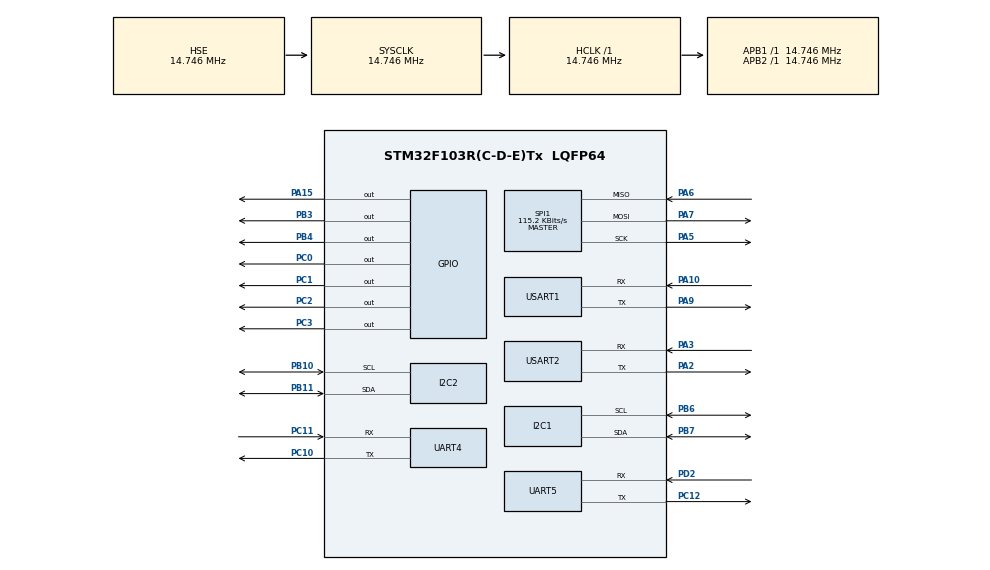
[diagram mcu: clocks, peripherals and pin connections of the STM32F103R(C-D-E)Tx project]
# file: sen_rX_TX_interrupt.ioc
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I2C2.I2C_Mode=I2C_Standard
Mcu.Family=STM32F1
Mcu.Name=STM32F103R(C-D-E)Tx
Mcu.Package=LQFP64
NVIC.I2C2_EV_IRQn=true\:4\:0\:true
NVIC.PriorityGroup=NVIC_PRIORITYGROUP_4
NVIC.SPI1_IRQn=true\:6\:0\:true
NVIC.TIM2_IRQn=true\:0\:0\:false
NVIC.UART4_IRQn=true\:1\:0\:true
NVIC.UART5_IRQn=true\:2\:0\:true
NVIC.USART1_IRQn=true\:0\:0\:false
PA10.GPIO_PuPd=GPIO_PULLUP
PA10.Mode=Asynchronous
PA10.Signal=USART1_RX
PA15.Signal=GPIO_Output
PA2.Mode=Asynchronous
PA2.Signal=USART2_TX
PA3.GPIO_PuPd=GPIO_PULLUP
PA3.Mode=Asynchronous
PA3.Signal=USART2_RX
PA5.Mode=Full_Duplex_Master
PA5.Signal=SPI1_SCK
PA6.Mode=Full_Duplex_Master
PA6.Signal=SPI1_MISO
PA7.Mode=Full_Duplex_Master
PA7.Signal=SPI1_MOSI
PA9.Mode=Asynchronous
PA9.Signal=USART1_TX
PB10.Mode=I2C
PB10.Signal=I2C2_SCL
PB11.Mode=I2C
PB11.Signal=I2C2_SDA
PB3.GPIO_Speed=GPIO_SPEED_HIGH
PB3.Signal=GPIO_Output
PB4.Signal=GPIO_Output
PB6.Mode=I2C
PB6.Signal=I2C1_SCL
PB7.Mode=I2C
PB7.Signal=I2C1_SDA
PC0.Signal=GPIO_Output
PC1.Signal=GPIO_Output
PC10.Mode=Asynchronous
PC10.Signal=UART4_TX
PC11.GPIO_PuPd=GPIO_PULLUP
PC11.Mode=Asynchronous
PC11.Signal=UART4_RX
PC12.Mode=Asynchronous
PC12.Signal=UART5_TX
PC2.Signal=GPIO_Output
PC3.Signal=GPIO_Output
PD0-OSC_IN.Mode=HSE-External-Oscillator
PD0-OSC_IN.Signal=RCC_OSC_IN
PD1-OSC_OUT.Mode=HSE-External-Oscillator
PD1-OSC_OUT.Signal=RCC_OSC_OUT
PD2.GPIO_PuPd=GPIO_PULLUP
PD2.Mode=Asynchronous
PD2.Signal=UART5_RX
ProjectManager.TargetToolchain=EWARM
RCC.AHBFreq_Value=14745600
RCC.APB1Freq_Value=14745600
RCC.APB1TimFreq_Value=14745600
RCC.APB2Freq_Value=14745600
RCC.APB2TimFreq_Value=14745600
RCC.HCLKFreq_Value=14745600
RCC.HSE_VALUE=14745600
RCC.SYSCLKFreq_VALUE=14745600
RCC.SYSCLKSource=RCC_SYSCLKSOURCE_HSE
SPI1.BaudRatePrescaler=SPI_BAUDRATEPRESCALER_128
SPI1.CalculateBaudRate=115.2 KBits/s
SPI1.Mode=SPI_MODE_MASTER
TIM2.Period=1843
TIM2.Prescaler=799
VP_TIM2_VS_ClockSourceINT.Mode=Internal
board=sen_rX_TX_interrupt

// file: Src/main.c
/**
  ******************************************************************************
  * File Name          : main.c
  * Description        : Main program body
  ******************************************************************************
  *
  * COPYRIGHT(c) 2021 STMicroelectronics
  *
  * Redistribution and use in source and binary forms, with or without modification,
  * are permitted provided that the following conditions are met:
  *   1. Redistributions of source code must retain the above copyright notice,
  *      this list of conditions and the following disclaimer.
  *   2. Redistributions in binary form must reproduce the above copyright notice,
  *      this list of conditions and the following disclaimer in the documentation
  *      and/or other materials provided with the distribution.
  *   3. Neither the name of STMicroelectronics nor the names of its contributors
  *      may be used to endorse or promote products derived from this software
  *      without specific prior written permission.
  *
  * THIS SOFTWARE IS PROVIDED BY THE COPYRIGHT HOLDERS AND CONTRIBUTORS "AS IS"
  * AND ANY EXPRESS OR IMPLIED WARRANTIES, INCLUDING, BUT NOT LIMITED TO, THE
  * IMPLIED WARRANTIES OF MERCHANTABILITY AND FITNESS FOR A PARTICULAR PURPOSE ARE
  * DISCLAIMED. IN NO EVENT SHALL THE COPYRIGHT HOLDER OR CONTRIBUTORS BE LIABLE
  * FOR ANY DIRECT, INDIRECT, INCIDENTAL, SPECIAL, EXEMPLARY, OR CONSEQUENTIAL
  * DAMAGES (INCLUDING, BUT NOT LIMITED TO, PROCUREMENT OF SUBSTITUTE GOODS OR
  * SERVICES; LOSS OF USE, DATA, OR PROFITS; OR BUSINESS INTERRUPTION) HOWEVER
  * CAUSED AND ON ANY THEORY OF LIABILITY, WHETHER IN CONTRACT, STRICT LIABILITY,
  * OR TORT (INCLUDING NEGLIGENCE OR OTHERWISE) ARISING IN ANY WAY OUT OF THE USE
  * OF THIS SOFTWARE, EVEN IF ADVISED OF THE POSSIBILITY OF SUCH DAMAGE.
  *
  ******************************************************************************
  */
#include "stm32f1xx_hal.h"

/* USER CODE BEGIN Includes */
#include <bno055.h>
#include <bno055_stm32.h>
#include <stdio.h>
#include "mlx90614.h"
#include <string.h>
//#include "confiq.h"
//#include "gps.h"

#define ACTIVE          1
#define INACTIVE        0

#define L80_EN_PORT     GPIOC
#define MLX_EN_PORT     GPIOC
#define BNO_EN_PORT     GPIOC
#define ESP_EN_PORT     GPIOC
#define SS_PORT         GPIOB

#define L80_EN_PIN      (1<<3)
#define MLX_EN_PIN      (1<<0)
#define BNO_EN_PIN      (1<<1)
#define ESP_EN_PIN      (1<<2)
#define SS_PIN          (1<<3)

#define SEN0_RTS_EN_PORT        GPIOA
#define SEN1_RTS_EN_PORT        GPIOB

#define SEN0_RTS_EN_PIN (1<<15)
#define SEN1_RTS_EN_PIN (1<<4)

#define UART4_INX   0
#define UART5_INX   1
#define MLX_INX     2
#define UART1_INX   3

#define TEMP_OBJ        0
#define TEMP_AMB        1

#define SEN_DATAPACK_SIZE       33

#define TIMER2_PERIOD   85
/*
  14745600Hz / 800 Prescaller = 18432
  18432 / 85 = 216Hz
  1 / 216 = 4.6 ms

 mind to place this value in timer function in case of regenerating the project
*/

#define R_VALUE 2

#define RMS_MODE_COMMAND_PACK    "$PMTK314,0,1,0,0,0,0,0,0,0,0,0,0,0,0,0,0,0,0,0*29\r\n\0"
#define RMS_GPS_OUTPUT  "$GPRMC,073810.000,A,3546.0748,N,05119.6196,E,0.00,196.72,061021,,,D*62\0"

/* USER CODE END Includes */

I2C_HandleTypeDef hi2c1;
I2C_HandleTypeDef hi2c2;

SPI_HandleTypeDef hspi1;

TIM_HandleTypeDef htim2;

UART_HandleTypeDef huart4;
UART_HandleTypeDef huart5;
UART_HandleTypeDef huart1;
UART_HandleTypeDef huart2;

char gps_validation_test = 0;

/* USER CODE BEGIN PV */
/* Private variables ---------------------------------------------------------*/

char    data_sen[2][SEN_DATAPACK_SIZE], data_sen2[2][SEN_DATAPACK_SIZE];
char    sen_request[2] = {97, 0};                    //116 is ASCII code of 't'
char    error[7] = {'E', 'R', 'R', 'O', 'R', '\n', 0};
char    pack_ready[2];

int     sen_value[3];

volatile long int       sen_port_c [2] ;
volatile long int       sen_port_r_check_c [2];
volatile long int       bno_c = 0;
volatile long int       mlx_c = 0;
volatile long int       gps_wire_connection_c = 0;

unsigned char   sen_send [2];
unsigned char   ch=0;
unsigned char   get_data [3];
unsigned char   sen_data_get_request[2];
float    data_mlx[2];

const int GPS_GETDATA_SIZE = 200;

char    sprint_buffer[20];
char    str[100];
char    str_buffer [800];
char    sen_data_buffer[420];
char    utc_str[30], latitude_str [30], longitude_str[30];
char    gps_validation, gps_ns, gps_ew;
int     index=0;

float   latitude = 0.0, longitude = 0.0;
float   latitude_final = 0.0, longitude_final = 0.0;
unsigned char gps_hour = 0, gps_min = 0, gps_sec = 0;
volatile unsigned char gps_wire_connection = 1;

volatile unsigned char gps_data_ready = 0;

char    utc_str_test[30] = "073810.123\r\n\0";
char    latitude_str_test[30] = "3546.0748\r\n\0";
char    longitude_str_test[30] = "05119.6196\r\n\0";
//char    gps_validation_test = 'A';
char    gps_ns = 'N';
char    gps_ew = 'E';

unsigned char battery_percent = 0;

char first_udp[30] = "aa";
char second_udp[10] = "ccc";
char first_serial[10] = "bbbb";
char second_serial[10] = "OK";
unsigned char volatile start_state = 0;
char buffer[20];

unsigned char   uart4_rx_state = 0;
unsigned char   uart4_rx_complete = 0;
unsigned char   uart5_rx_state = 0;
unsigned char   uart5_rx_complete = 0;

int     index_uart4 = 0;
int     index_uart5 = 0;

unsigned char bno_state = 1;

char test_char_gps = 0;

/* USER CODE END PV */

void SystemClock_Config(void);
static void MX_GPIO_Init(void);
static void MX_I2C1_Init(void);
static void MX_I2C2_Init(void);
static void MX_SPI1_Init(void);
static void MX_TIM2_Init(void);
static void MX_UART4_Init(void);
static void MX_UART5_Init(void);
static void MX_USART1_UART_Init(void);
static void MX_USART2_UART_Init(void);

/* USER CODE BEGIN PFP */
/* Private function prototypes -----------------------------------------------*/

/* USER CODE END PFP */

/* USER CODE BEGIN 0 */
void put_str(char *Str, UART_HandleTypeDef *Huart);
void datapack_maker ( char *Des, char *Source, char Max_index, char End);
void two_way_esp_polling (void);

void gps_data_check_extrac_func (char *Str, char *Utc_time, char* Validation,
                                    char *Latitude, char *Ns, char *Longitude,
                                    char *Ew);
void gps_conv_double (char *In, float *Out);
void gps_cor_final_conv_func(float In, float *Out);
void gps_utc_conv_func (char *Utc_time, unsigned char *Hour, unsigned char *Min,
                        unsigned char *Sec);

/* USER CODE END 0 */

int main(void)
{

  /* MCU Configuration----------------------------------------------------------*/

  /* Reset of all peripherals, Initializes the Flash interface and the Systick. */
  HAL_Init();

  /* Configure the system clock */
  SystemClock_Config();

  /* Initialize all configured peripherals */
  MX_GPIO_Init();
  MX_I2C1_Init();
  MX_I2C2_Init();
  MX_SPI1_Init();
  MX_TIM2_Init();
  MX_UART4_Init();
  MX_UART5_Init();
  MX_USART1_UART_Init();
  MX_USART2_UART_Init();

  /* USER CODE BEGIN 2 */
  RCC->APB2ENR |= RCC_APB2ENR_AFIOEN;           // Enable A.F. clock
  AFIO->MAPR |= AFIO_MAPR_SWJ_CFG_JTAGDISABLE; // JTAG is disabled, SWD is enabled

  HAL_GPIO_WritePin(L80_EN_PORT, L80_EN_PIN, GPIO_PIN_RESET);
  HAL_GPIO_WritePin(MLX_EN_PORT, MLX_EN_PIN, GPIO_PIN_RESET);
  HAL_GPIO_WritePin(GPIOC, BNO_EN_PIN, GPIO_PIN_RESET);

  HAL_Delay(1000);

  HAL_GPIO_WritePin(L80_EN_PORT, L80_EN_PIN, GPIO_PIN_SET);
  HAL_GPIO_WritePin(MLX_EN_PORT, MLX_EN_PIN, GPIO_PIN_SET);
  HAL_GPIO_WritePin(BNO_EN_PORT, BNO_EN_PIN, GPIO_PIN_SET);
  HAL_GPIO_WritePin(ESP_EN_PORT, ESP_EN_PIN, GPIO_PIN_SET);
  HAL_GPIO_WritePin(SS_PORT, SS_PIN, GPIO_PIN_SET);
  HAL_GPIO_WritePin(SEN0_RTS_EN_PORT, SEN0_RTS_EN_PIN, GPIO_PIN_RESET);
  HAL_GPIO_WritePin(SEN1_RTS_EN_PORT, SEN1_RTS_EN_PIN, GPIO_PIN_RESET);

  //HAL_Delay(2000);
  //MLX90614_WriteReg(MLX90614_DEFAULT_SA, MLX90614_CFG1, 0xB7C0);
  HAL_Delay(2000);

  two_way_esp_polling();

  HAL_Delay(2000);

  bno055_setup();
  bno055_setOperationModeNDOF();
  bno055_getCalibrationData();

  sen_data_buffer[300] = 0;
  sen_data_buffer[301] = '\n';
  /* USER CODE END 2 */

  /* Infinite loop */
  /* USER CODE BEGIN WHILE */
  HAL_TIM_Base_Start_IT(&htim2);

  for (int i = 0; i<60; i++)
  {
    HAL_Delay(1000);
    sprintf(str,"%d secs\n",i);
    put_str(str, &huart2);
  }

  HAL_Delay(1000);
  put_str(RMS_MODE_COMMAND_PACK, &huart1);
  HAL_Delay(1000);
  __HAL_UART_ENABLE_IT(&huart1, UART_IT_RXNE);
  __HAL_UART_ENABLE_IT(&huart4, UART_IT_RXNE);
  __HAL_UART_ENABLE_IT(&huart5, UART_IT_RXNE);

  HAL_Delay(2000);
  sen_port_c [UART5_INX] = 0;
  sen_port_r_check_c [UART5_INX] = 0;
  bno_c = 0;
  mlx_c = 200;
  gps_wire_connection_c = 0;

   while (1)
    {
    if (sen_port_c[UART4_INX] > 9)
    {
      get_data [UART4_INX] = ACTIVE;
      sen_port_c [UART4_INX]= 0;
    }

    if (sen_port_c[UART5_INX] > 9)
    {
      get_data [UART5_INX] = ACTIVE;
      sen_port_c [UART5_INX]= 0;
    }

    if (mlx_c > 199)
    {
      get_data [MLX_INX] = ACTIVE;
      mlx_c = 0;
    }

/*
    if (bno_c > 9)
    {
      bno055_vector_t v = bno055_getVectorEuler();
      sprintf(str, "%0.2f;%0.2f;%0.2f\n", v.x, v.y, v.z);
      put_str(str, &huart2);
      bno_c = 0;
    }
*/
    if(get_data [UART4_INX] == ACTIVE)
    {
      HAL_GPIO_WritePin(GPIOA, GPIO_PIN_15, GPIO_PIN_SET);
      HAL_Delay(2);
      HAL_UART_Transmit(&huart4, (unsigned char *)sen_request, 1,10);

      HAL_Delay(2);
      HAL_GPIO_WritePin(GPIOA, GPIO_PIN_15, GPIO_PIN_RESET);

      uart4_rx_state = 1;
      index_uart4 = 0;

      sen_data_get_request [UART4_INX] = ACTIVE;
      get_data [UART4_INX] = INACTIVE;
    }

    if(get_data [UART5_INX] == ACTIVE)
    {
      HAL_GPIO_WritePin(GPIOB, GPIO_PIN_4, GPIO_PIN_SET);
      HAL_Delay(2);
      HAL_UART_Transmit(&huart5, (unsigned char *)sen_request, 1,10);

      HAL_Delay(2);
      HAL_GPIO_WritePin(GPIOB, GPIO_PIN_4, GPIO_PIN_RESET);

      uart5_rx_state = 1;
      index_uart5 = 0;

      sen_data_get_request [UART5_INX]= ACTIVE;
      get_data [UART5_INX] = INACTIVE;
    }

    if (get_data [MLX_INX] == ACTIVE)
    {
      data_mlx[TEMP_OBJ] = MLX90614_ReadTemp(MLX90614_DEFAULT_SA, MLX90614_TOBJ1);
      HAL_Delay(10);
      data_mlx[TEMP_AMB] = MLX90614_ReadTemp(MLX90614_DEFAULT_SA, MLX90614_TAMB);
      HAL_Delay(10);
      get_data [MLX_INX] = INACTIVE;
    }

    if(sen_data_get_request [UART4_INX] == ACTIVE)
    {

      if(uart4_rx_complete == 1)
      {
        sen_send [UART4_INX]= ACTIVE;
        sen_port_r_check_c [UART4_INX]= 0;
        uart4_rx_complete = 0;
      }

      /*
      if(sen_port_r_check_c [UART4_INX] > 9)
      {
        put_str(error, &huart2);
        get_data [UART4_INX]= ACTIVE;
        sen_port_r_check_c [UART4_INX]= 0;
      }
      */
    }

    if(sen_data_get_request [UART5_INX]== ACTIVE)
    {
      if(uart5_rx_complete == 1)
      {
        sen_send [UART5_INX]= ACTIVE;
        sen_port_r_check_c [UART5_INX]= 0;
        uart5_rx_complete = 0;
      }

      /*
      if(sen_port_r_check_c [UART5_INX] > 9)
      {
        put_str(error, &huart2);
        get_data [UART5_INX]= ACTIVE;
        sen_port_r_check_c [UART5_INX]= 0;
      }
      */
    }

    if (sen_send [UART4_INX] == ACTIVE)
    {

      datapack_maker((char*)data_sen2, (char*)data_sen, (SEN_DATAPACK_SIZE - 1),0);
      sscanf ((char const*)data_sen2, "%d",&sen_value[0]);

      sen_send [UART4_INX] = INACTIVE;
      sen_data_get_request [UART4_INX]= INACTIVE;
      pack_ready[UART4_INX] = ACTIVE;
    }

    if (sen_send [UART5_INX]== ACTIVE)
    {

      datapack_maker((char*)data_sen2 + SEN_DATAPACK_SIZE, (char*)data_sen + SEN_DATAPACK_SIZE, (SEN_DATAPACK_SIZE - 1),0);
      sscanf ((char const*)data_sen2 + SEN_DATAPACK_SIZE, "%d",&sen_value[1]);

      sen_send [UART5_INX] = INACTIVE;
      sen_data_get_request [UART5_INX]= INACTIVE;
      pack_ready[UART5_INX] = ACTIVE;
    }

    if (gps_data_ready == 1)
    {

      for (int i = 0; i < GPS_GETDATA_SIZE; i++)        sen_data_buffer[i] = str_buffer[i];
      sen_data_buffer[GPS_GETDATA_SIZE] = 0;
      gps_data_check_extrac_func(sen_data_buffer, utc_str, &gps_validation, latitude_str,
                               &gps_ns, longitude_str, &gps_ew);
      gps_conv_double(latitude_str, &latitude);
      gps_conv_double(longitude_str, &longitude);

      gps_utc_conv_func(utc_str, &gps_hour, &gps_min, &gps_sec);
      gps_cor_final_conv_func(latitude, &latitude_final);
      gps_cor_final_conv_func(longitude, &longitude_final);

      gps_data_ready = 0;
      gps_wire_connection = ACTIVE;
      gps_wire_connection_c = 0;
    }

    if ((pack_ready[UART4_INX] && pack_ready[UART5_INX] ) == ACTIVE)
    //if ((pack_ready[UART4_INX]) == ACTIVE)
    {
      pack_ready[UART4_INX] = INACTIVE;
      pack_ready[UART5_INX] = INACTIVE;
      HAL_GPIO_WritePin(SS_PORT, SS_PIN, GPIO_PIN_RESET);

      put_str((char *)data_sen2, &huart2);
      put_str((char *)((char *)data_sen2 +  SEN_DATAPACK_SIZE), &huart2);

      sen_value[R_VALUE] = (sen_value[0] + sen_value[1]);
      sprintf(str, "%d\t", sen_value[R_VALUE]);
      put_str(str, &huart2);

      if(bno_state == 1)
      {
        bno055_vector_t v = bno055_getVectorEuler();
        sprintf(str, "%0.2f\t%0.2f\t%0.2f\t", v.z, v.y, v.x); //the x and the z were reverse in tests
        put_str(str, &huart2);
      }
      else if (bno_state == 2)
      {
        sprintf(str, "BNO Problem\t");
        put_str(str, &huart2);
      }
      else
      {
        sprintf(str, "BNO unavailable\t");
        put_str(str, &huart2);
      }

      sprintf(str, "%0.2f\t%0.2f\t", data_mlx[TEMP_OBJ], data_mlx[TEMP_AMB]);
      put_str(str, &huart2);

      switch (gps_wire_connection)
      {
      case ACTIVE:
        if(gps_wire_connection_c > 800)  gps_wire_connection = INACTIVE;

          switch (gps_validation)
          {
            case 'V':
              put_str("GPS Data was invalid\t", &huart2);
            break;

            case 'A':
              sprintf(str, "%2d:%2d:%2d\t", gps_hour, gps_min, gps_sec);
              put_str(str, &huart2);

              sprintf(str, "%2.7f\t%c\t", latitude_final, gps_ns);
              put_str(str, &huart2);

              sprintf(str, "%2.7f\t%c\t", longitude_final, gps_ew);
              put_str(str, &huart2);
            break;
            default:
              //sprintf(str,"GPS checking\t",gps_validation);
              //put_str(str, &huart2);
              put_str("GPS Data was invalid\t", &huart2);

            break;

          }
      break;

      case INACTIVE:
        put_str("GPS_ERROR\t", &huart2);
      break;
      }

      battery_percent = 0;
      HAL_SPI_Receive(&hspi1,&battery_percent,1,10);
      sprintf(str, "%d%%\n", battery_percent);
      put_str(str, &huart2);
      HAL_GPIO_WritePin(SS_PORT, SS_PIN, GPIO_PIN_SET);
    }

  /* USER CODE END WHILE */

  }

}

/** System Clock Configuration
*/
void SystemClock_Config(void)
{

  RCC_OscInitTypeDef RCC_OscInitStruct;
  RCC_ClkInitTypeDef RCC_ClkInitStruct;

  RCC_OscInitStruct.OscillatorType = RCC_OSCILLATORTYPE_HSE;
  RCC_OscInitStruct.HSEState = RCC_HSE_ON;
  RCC_OscInitStruct.PLL.PLLState = RCC_PLL_NONE;
  HAL_RCC_OscConfig(&RCC_OscInitStruct);

  RCC_ClkInitStruct.ClockType = RCC_CLOCKTYPE_SYSCLK;
  RCC_ClkInitStruct.SYSCLKSource = RCC_SYSCLKSOURCE_HSE;
  RCC_ClkInitStruct.AHBCLKDivider = RCC_SYSCLK_DIV1;
  RCC_ClkInitStruct.APB1CLKDivider = RCC_HCLK_DIV1;
  RCC_ClkInitStruct.APB2CLKDivider = RCC_HCLK_DIV1;
  HAL_RCC_ClockConfig(&RCC_ClkInitStruct, FLASH_LATENCY_0);

  HAL_SYSTICK_Config(HAL_RCC_GetHCLKFreq()/1000);

  HAL_SYSTICK_CLKSourceConfig(SYSTICK_CLKSOURCE_HCLK);

  /* SysTick_IRQn interrupt configuration */
  HAL_NVIC_SetPriority(SysTick_IRQn, 0, 0);
}

/* I2C1 init function */
void MX_I2C1_Init(void)
{

  hi2c1.Instance = I2C1;
  hi2c1.Init.ClockSpeed = 100000;
  hi2c1.Init.DutyCycle = I2C_DUTYCYCLE_2;
  hi2c1.Init.OwnAddress1 = 0;
  hi2c1.Init.AddressingMode = I2C_ADDRESSINGMODE_7BIT;
  hi2c1.Init.DualAddressMode = I2C_DUALADDRESS_DISABLED;
  hi2c1.Init.OwnAddress2 = 0;
  hi2c1.Init.GeneralCallMode = I2C_GENERALCALL_DISABLED;
  hi2c1.Init.NoStretchMode = I2C_NOSTRETCH_DISABLED;
  HAL_I2C_Init(&hi2c1);

}

/* I2C2 init function */
void MX_I2C2_Init(void)
{

  hi2c2.Instance = I2C2;
  hi2c2.Init.ClockSpeed = 400000;
  hi2c2.Init.DutyCycle = I2C_DUTYCYCLE_2;
  hi2c2.Init.OwnAddress1 = 0;
  hi2c2.Init.AddressingMode = I2C_ADDRESSINGMODE_7BIT;
  hi2c2.Init.DualAddressMode = I2C_DUALADDRESS_DISABLED;
  hi2c2.Init.OwnAddress2 = 0;
  hi2c2.Init.GeneralCallMode = I2C_GENERALCALL_DISABLED;
  hi2c2.Init.NoStretchMode = I2C_NOSTRETCH_DISABLED;
  HAL_I2C_Init(&hi2c2);

}

/* SPI1 init function */
void MX_SPI1_Init(void)
{

  hspi1.Instance = SPI1;
  hspi1.Init.Mode = SPI_MODE_MASTER;
  hspi1.Init.Direction = SPI_DIRECTION_2LINES;
  hspi1.Init.DataSize = SPI_DATASIZE_8BIT;
  hspi1.Init.CLKPolarity = SPI_POLARITY_LOW;
  hspi1.Init.CLKPhase = SPI_PHASE_1EDGE;
  hspi1.Init.NSS = SPI_NSS_SOFT;
  hspi1.Init.BaudRatePrescaler = SPI_BAUDRATEPRESCALER_128;
  hspi1.Init.FirstBit = SPI_FIRSTBIT_MSB;
  hspi1.Init.TIMode = SPI_TIMODE_DISABLED;
  hspi1.Init.CRCCalculation = SPI_CRCCALCULATION_DISABLED;
  hspi1.Init.CRCPolynomial = 10;
  HAL_SPI_Init(&hspi1);

}

/* TIM2 init function */
void MX_TIM2_Init(void)
{

  TIM_ClockConfigTypeDef sClockSourceConfig;
  TIM_MasterConfigTypeDef sMasterConfig;

  htim2.Instance = TIM2;
  htim2.Init.Prescaler = 799;
  htim2.Init.CounterMode = TIM_COUNTERMODE_UP;
  htim2.Init.Period = TIMER2_PERIOD;
  htim2.Init.ClockDivision = TIM_CLOCKDIVISION_DIV1;
  HAL_TIM_Base_Init(&htim2);

  sClockSourceConfig.ClockSource = TIM_CLOCKSOURCE_INTERNAL;
  HAL_TIM_ConfigClockSource(&htim2, &sClockSourceConfig);

  sMasterConfig.MasterOutputTrigger = TIM_TRGO_RESET;
  sMasterConfig.MasterSlaveMode = TIM_MASTERSLAVEMODE_DISABLE;
  HAL_TIMEx_MasterConfigSynchronization(&htim2, &sMasterConfig);

}

/* UART4 init function */
void MX_UART4_Init(void)
{

  huart4.Instance = UART4;
  huart4.Init.BaudRate = 115200;
  huart4.Init.WordLength = UART_WORDLENGTH_8B;
  huart4.Init.StopBits = UART_STOPBITS_1;
  huart4.Init.Parity = UART_PARITY_NONE;
  huart4.Init.Mode = UART_MODE_TX_RX;
  huart4.Init.HwFlowCtl = UART_HWCONTROL_NONE;
  huart4.Init.OverSampling = UART_OVERSAMPLING_16;
  HAL_UART_Init(&huart4);

}

/* UART5 init function */
void MX_UART5_Init(void)
{

  huart5.Instance = UART5;
  huart5.Init.BaudRate = 115200;
  huart5.Init.WordLength = UART_WORDLENGTH_8B;
  huart5.Init.StopBits = UART_STOPBITS_1;
  huart5.Init.Parity = UART_PARITY_NONE;
  huart5.Init.Mode = UART_MODE_TX_RX;
  huart5.Init.HwFlowCtl = UART_HWCONTROL_NONE;
  huart5.Init.OverSampling = UART_OVERSAMPLING_16;
  HAL_UART_Init(&huart5);

}

/* USART1 init function */
void MX_USART1_UART_Init(void)
{

  huart1.Instance = USART1;
  huart1.Init.BaudRate = 9600;
  huart1.Init.WordLength = UART_WORDLENGTH_8B;
  huart1.Init.StopBits = UART_STOPBITS_1;
  huart1.Init.Parity = UART_PARITY_NONE;
  huart1.Init.Mode = UART_MODE_TX_RX;
  huart1.Init.HwFlowCtl = UART_HWCONTROL_NONE;
  huart1.Init.OverSampling = UART_OVERSAMPLING_16;
  HAL_UART_Init(&huart1);

}

/* USART2 init function */
void MX_USART2_UART_Init(void)
{

  huart2.Instance = USART2;
  huart2.Init.BaudRate = 115200;
  huart2.Init.WordLength = UART_WORDLENGTH_8B;
  huart2.Init.StopBits = UART_STOPBITS_1;
  huart2.Init.Parity = UART_PARITY_NONE;
  huart2.Init.Mode = UART_MODE_TX_RX;
  huart2.Init.HwFlowCtl = UART_HWCONTROL_NONE;
  huart2.Init.OverSampling = UART_OVERSAMPLING_16;
  HAL_UART_Init(&huart2);

}

/** Configure pins as
        * Analog
        * Input
        * Output
        * EVENT_OUT
        * EXTI
*/
void MX_GPIO_Init(void)
{

  GPIO_InitTypeDef GPIO_InitStruct;

  /* GPIO Ports Clock Enable */
  __GPIOD_CLK_ENABLE();
  __GPIOC_CLK_ENABLE();
  __GPIOA_CLK_ENABLE();
  __GPIOB_CLK_ENABLE();

  /*Configure GPIO pins : PC0 PC1 PC2 PC3 */
  GPIO_InitStruct.Pin = GPIO_PIN_0|GPIO_PIN_1|GPIO_PIN_2|GPIO_PIN_3;
  GPIO_InitStruct.Mode = GPIO_MODE_OUTPUT_PP;
  GPIO_InitStruct.Speed = GPIO_SPEED_LOW;
  HAL_GPIO_Init(GPIOC, &GPIO_InitStruct);

  /*Configure GPIO pin : PA15 */
  GPIO_InitStruct.Pin = GPIO_PIN_15;
  GPIO_InitStruct.Mode = GPIO_MODE_OUTPUT_PP;
  GPIO_InitStruct.Speed = GPIO_SPEED_LOW;
  HAL_GPIO_Init(GPIOA, &GPIO_InitStruct);

  /*Configure GPIO pin : PB3 */
  GPIO_InitStruct.Pin = GPIO_PIN_3;
  GPIO_InitStruct.Mode = GPIO_MODE_OUTPUT_PP;
  GPIO_InitStruct.Speed = GPIO_SPEED_HIGH;
  HAL_GPIO_Init(GPIOB, &GPIO_InitStruct);

  /*Configure GPIO pin : PB4 */
  GPIO_InitStruct.Pin = GPIO_PIN_4;
  GPIO_InitStruct.Mode = GPIO_MODE_OUTPUT_PP;
  GPIO_InitStruct.Speed = GPIO_SPEED_LOW;
  HAL_GPIO_Init(GPIOB, &GPIO_InitStruct);

}

/* USER CODE BEGIN 4 */
void put_str(char *Str, UART_HandleTypeDef *Huart)
{
  while(*Str!=0)
  {
    HAL_UART_Transmit(Huart,(unsigned char*)Str, 1, 20);
    Str++;
  }
}

/*
*In case of datapack contains ';' at the beginning, replace
*Source[j] => Source[j+1]
*/
void datapack_maker ( char *Des, char *Source, char Max_index,char End)
{

  for (int j = 0; j<Max_index; j++)
  {
    if (Source[j] != ';')
    {
      Des[j] = Source[j];
    }
    else
    {
      Des[j] = (End == 1) ? '\n' : '\t';
      Des[j+1] = 0;
      break;
    }
  }
}

void two_way_esp_polling (void)
{
  while (start_state < 4)
  {
    switch (start_state)
    {
      case 0:
        for(int i = 0; i < 10; i++)     buffer[i] = 0;

        while(start_state == 0)
        {
          HAL_UART_Receive(&huart2, (unsigned char*)buffer, 2,5000);
          if(strcmp(buffer, first_udp) == 0)
          {
            put_str(first_serial, &huart2);
            start_state = 1;
          }
          else
          {
            for(int i = 0; i < 10; i++)     buffer[i] = 0;
          }
        }

      break;

      case 1:

        for(int i = 0; i < 10; i++)     buffer[i] = 0;

        while(start_state == 1)
        {
          HAL_UART_Receive(&huart2, (unsigned char*)buffer, 3,5000);
          if(strcmp(buffer, second_udp) == 0)
          {
            put_str(second_serial, &huart2);
            start_state = 5;
          }
          else
          {
            for(int i = 0; i < 10; i++)     buffer[i] = 0;
          }
        }

        break;
      }
  }

}

#include "gps.h"

extern char gps_validation_test;

void  gps_data_check_extrac_func (char *Str, char *Utc_time, char* Validation,
                                  char *Latitude, char *Ns, char *Longitude,
                                  char *Ew)
{

  struct INDEX
  {
    unsigned char       Utc;
    unsigned int        data;
    unsigned char       latitude;
    unsigned char       longitude;
  };

  enum Gps_ex_state       //main menu
  {
    waiting,
    start_of_datapack,
    gps_validation_state,
    data_extraction,
    data_error,
  };
  enum Gpmode
  {
    S,
    G,
    P,
    R,
    NR,   //NOT R, RMS
    ER,   //ERROR
  };
  enum Comma_count
  {
    zero,
    one_utc,
    two_validation,
    three_latitude,
    four_ns,
    five_longitude,
    six_ew,
    seven,
  };

  volatile unsigned char Progress = ACTIVE;
  volatile static char Check_ch = 0;
  volatile static enum Gps_ex_state    Main_state = waiting;
  volatile static enum Gpmode  Gp_state = S;
  volatile static enum Comma_count      Comma_state;
  static struct INDEX  Index, Index_default = {0, 0, 0, 0};

  Main_state = waiting;
  Gp_state = S;
  Comma_state = zero;
  Index = Index_default;

  *Validation = 0;
  /*
  this is for checking the connection of GPS
  the validation will update and check in each data extraction
  */

  while (Progress == ACTIVE)
  {
    if ( (*(Str + Index.data)) != 0 )   Check_ch = *(Str + Index.data);
    else
    {
      //put_str("it was zero\n", &huart2);
      Progress = INACTIVE;
      break;
    }

    //Data_index++;
    Index.data++;

    switch (Main_state)
    {
      case waiting:
        Main_state = (Check_ch == 36) ? start_of_datapack: waiting;   //36 => $
      break;

      case start_of_datapack:
        switch(Gp_state)
        {
          case S:
            //put_str("THIS WAS S\n", &huart2);
            Gp_state = (Check_ch == 'G') ? G: ER;
          break;

          case G:
            //put_str("THIS WAS G\n", &huart2);
            Gp_state = (Check_ch == 'P') ? P: ER;
          break;

          case P:
            //put_str("THIS WAS P\n", &huart2);
            Gp_state = (Check_ch == 'R') ? R: NR;
          break;

          case R:
            //put_str("THIS WAS R\n", &huart2);
            Main_state = gps_validation_state;
          break;

          case NR:
            //put_str("THIS WAS NR\n", &huart2);
            Main_state = waiting;
            Gp_state = S;
            //Progress = INACTIVE;
          break;

          case ER:
            //put_str("THIS WAS ER\n", &huart2);
            Gp_state = S;
            Main_state = waiting;
            Progress = INACTIVE;
          break;
        }

      break;

      case gps_validation_state:
        switch(Comma_state)
        {
        case zero:
          Comma_state = (Check_ch == 44) ? one_utc: zero;          //44 => ,
        break;

        case one_utc:
          Comma_state = (Check_ch == 44) ? two_validation: one_utc;
          *(Utc_time + Index.Utc) = (Comma_state == one_utc) ? Check_ch : '\t';
          Index.Utc ++;

        break;

        case two_validation:
          //sprintf(Utc_time, "%s\n", Utc_time);
          *(Utc_time + Index.Utc) = 0;
          //put_str(Utc_time, &huart2);

          //test
          gps_validation_test = Check_ch;
          switch (Check_ch)
          {
            case 'V':
              Main_state = data_error;
              *Validation = 'V';
            break;

            case 'A':
              Main_state = data_extraction;
              *Validation = 'A';
            break;
          }

        break;
        }

      break;

      case data_extraction:
        //put_str("THIS WAS data extracton\n", &huart2);
        switch(Comma_state)
        {
        case two_validation:
          Comma_state = (Check_ch == 44) ? three_latitude : two_validation;

        break;

        case three_latitude:
          Comma_state = (Check_ch == 44) ? four_ns: three_latitude;          //44 => ,
          *(Latitude + Index.latitude) = (Comma_state == three_latitude) ? Check_ch : '\t';
          Index.latitude ++;

        break;

        case four_ns:
          *(Latitude + Index.latitude) = 0;
          Comma_state = (Check_ch == 44) ? five_longitude: four_ns;
          switch (Check_ch)
          {
            case 'N':
              *Ns = 'N';
            break;

            case 'S':
              *Ns = 'S';
            break;
          }

        break;

        case five_longitude:
          Comma_state = (Check_ch == 44) ? six_ew: five_longitude;
          *(Longitude + Index.longitude) = (Comma_state == five_longitude) ? Check_ch : '\t';
          Index.longitude ++;

        break;

        case six_ew:

          *(Longitude + Index.longitude) = 0;
          Comma_state = (Check_ch == 44) ? seven: six_ew;
          switch (Check_ch)
          {
            case 'E':
              *Ew = 'E';
            break;

            case 'W':
              *Ew = 'W';
            break;
          }

        break;

        case seven:
            Progress = INACTIVE;
        break;

        }

      break;

      case data_error:
        //put_str("THIS WAS dataError\r\n", &huart2);
        Progress = INACTIVE;

      break;
    }   //switch
  }     //while
}

void gps_conv_double (char *In, float *Out)
{
  float Float_buffer = 0;
  sscanf(In, "%f", &Float_buffer);
  *Out = Float_buffer;
}

void gps_cor_final_conv_func(float In, float *Out)
{
  int Decimal_part = 0;
  float Min_part = 0.0;
  Decimal_part = (int)(In / 100);
  Min_part = In - (Decimal_part * 100) ;
  Min_part /= 60;
  *Out = Decimal_part + Min_part;
}

void gps_utc_conv_func (char *Utc_time, unsigned char *Hour, unsigned char *Min,
                        unsigned char *Sec)
{
  unsigned int time_buffer = 0;
  unsigned char Hour_buffer = 0, Min_buffer = 0;
  sscanf(Utc_time, "%d", &time_buffer);
  Hour_buffer = (unsigned char)(time_buffer / 10000);
  Min_buffer = (unsigned char) ((time_buffer - (Hour_buffer * 10000)) / 100);
  *Sec = (unsigned char) (time_buffer - ((Hour_buffer * 10000) + (Min_buffer * 100)));

  Min_buffer += 30;
  if (Min_buffer > 59)
  {
    Min_buffer -= 60;
    Hour_buffer += 1;
  }

  Hour_buffer += 3;
  if (Hour_buffer > 23) Hour_buffer -= 24;

  *Hour = Hour_buffer;
  *Min = Min_buffer;
}

/* USER CODE END 4 */

/************************ (C) COPYRIGHT STMicroelectronics *****END OF FILE****/
